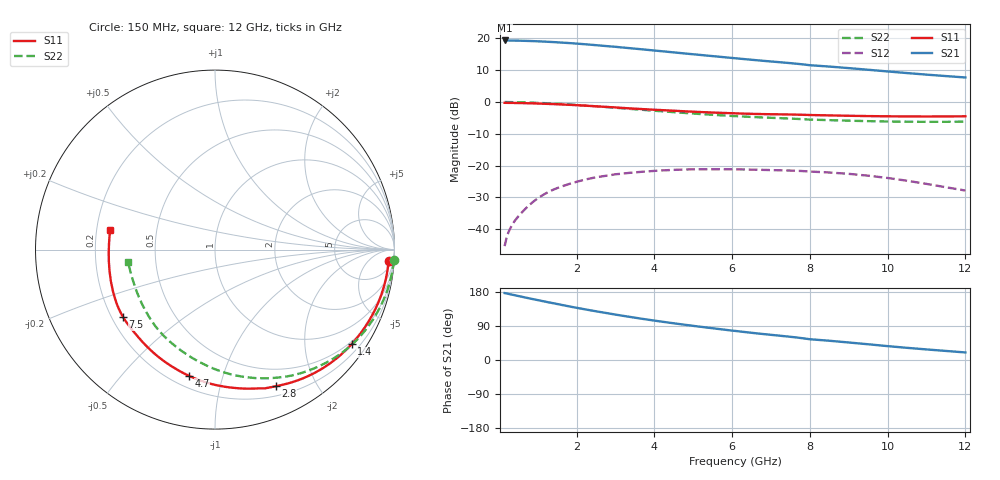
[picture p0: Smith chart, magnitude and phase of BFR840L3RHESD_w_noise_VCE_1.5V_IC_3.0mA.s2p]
! Infineon Technologies  Discrete & RF Semiconductors
! BFR840L3RHESD
! VCE =  1.5 V,  IC =  3.0 mA
! Common Emitter S-Parameters:  Jun 2012
# GHz  S  MA  R  50
!  f  S11  S21  S12  S22
! GHz  MAG  ANG  MAG  ANG  MAG  ANG  MAG  ANG
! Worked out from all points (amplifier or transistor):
!   91 points, 150 MHz to 12 GHz, reference 50 ohm
!   highest |S21| = 19.3 dB at 150 MHz (marker M1)
!   |S21| within 3 dB of that: start of sweep to 3.863 GHz
!   unconditionally stable (mu >= 1): 9.749 GHz to end of sweep
!   at 1.3 GHz: K = 0.07, MSG = 23.5 dB, |S12| = -28.2 dB
!   at 4.3 GHz: K = 0.23, MSG = 18.7 dB, |S12| = -21.5 dB
!   at 12 GHz: K = 2.25, MAG = 11.5 dB, |S12| = -27.9 dB
!   lowest NFmin = 0.41 dB at 450 MHz
!   S11 on the Smith chart (normalised r, x): 150 MHz: 11, -24; 1.4 GHz: 0.43, -3.15; 2.8 GHz: 0.30, -1.50; 4.7 GHz: 0.27, -0.78; 7.5 GHz: 0.25, -0.31; 12 GHz: 0.26, +0.09
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0.15  0.9697 -3.9  9.276 176.6  0.0054 81.8  0.9981 -3.4
0.35  0.9662 -9.1  9.24 172.3  0.0118 82.0  0.9942 -7.9
0.7  0.9568 -17.8  9.135 164.5  0.0214 74.6  0.9822 -15.5
1  0.9448 -25.1  8.998 158.1  0.0305 69.8  0.968 -21.8
1.4  0.9257 -34.7  8.749 149.8  0.0417 63.8  0.9442 -30.2
1.8  0.9029 -44.2  8.446 141.7  0.0511 57.0  0.9146 -38.3
2.2  0.8761 -53.3  8.102 134.0  0.0597 50.3  0.8806 -46.1
2.4  0.8619 -57.7  7.916 130.3  0.0636 47.1  0.8632 -49.9
2.8  0.8335 -66.0  7.538 123.4  0.0696 41.0  0.8293 -57.0
3  0.8212 -70.3  7.376 119.8  0.073 39.0  0.8118 -60.5
3.4  0.7911 -78.2  6.986 113.3  0.0771 33.0  0.7762 -67.4
4.2  0.7441 -93.1  6.272 101.1  0.0838 23.4  0.7132 -80.1
4.7  0.7177 -101.8  5.858 94.1  0.0864 18.1  0.6776 -87.5
5.4  0.6861 -113.4  5.333 85.0  0.0876 10.9  0.6337 -97.5
6.1  0.662 -124.1  4.858 76.5  0.0871 4.4  0.5982 -107.1
6.8  0.6445 -134.1  4.439 68.5  0.0855 -1.1  0.5705 -116.2
7.5  0.6352 -143.7  4.08 61.2  0.0834 -6.2  0.5478 -125.0
8  0.6234 -152.2  3.784 54.8  0.0805 -11.2  0.5286 -132.8
8.5  0.615 -157.3  3.603 50.8  0.0778 -14.4  0.5179 -137.6
9.5  0.5998 -168.4  3.21 41.5  0.0693 -21.7  0.4994 -148.3
10.5  0.5922 -178.5  2.848 32.1  0.0577 -27.5  0.4889 -158.7
12  0.5951 169.4  2.428 19.9  0.0405 -26.9  0.4904 -171.7
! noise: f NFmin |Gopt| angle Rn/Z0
0.45  0.41  0.69  8  0.22
0.9  0.45  0.67  12  0.22
1.9  0.5  0.62  28  0.21
3.5  0.53  0.64  46  0.19
4  0.56  0.64  54  0.18
5.5  0.62  0.65  72  0.16
7  0.71  0.6  92  0.14
8  0.79  0.58  101  0.13
10  0.93  0.51  122  0.1
12  1.11  0.43  154  0.07
